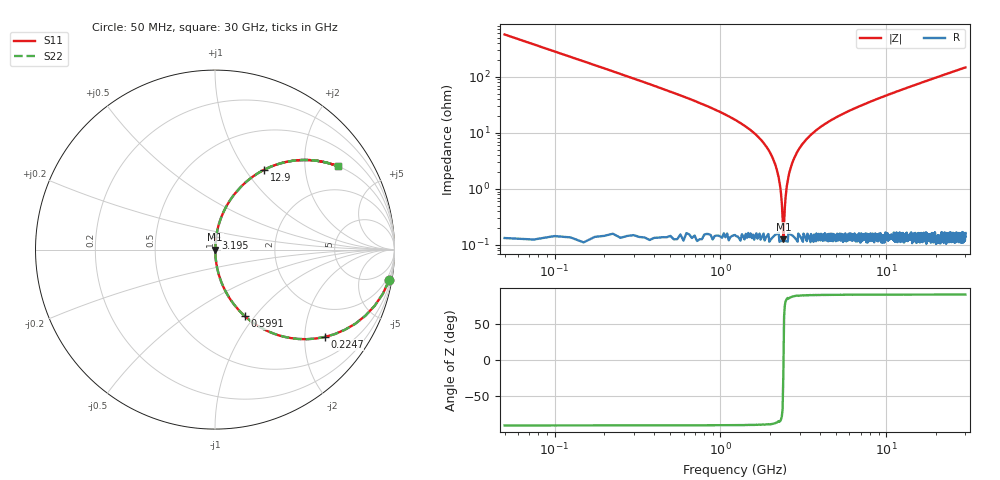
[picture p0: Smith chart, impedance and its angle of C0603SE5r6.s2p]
!	AVX Thin Film Operation 	Date: April 2014
!	Description: Accu-P® Series, Thin Film  SMD RF Capacitor
!	Part Number: 06035J5R6ABSTR
# MHZ S MA R 50
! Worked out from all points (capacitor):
!   1201 points, 50 MHz to 30 GHz, reference 50 ohm
!   read as one part in series: C = 5.6 pF near 199.8 MHz
!   lowest |Z| = 127 mohm at 2.396 GHz (marker M1)
!   series resonance near 2.4 GHz, so ESL is about 780 pH
!   S11 on the Smith chart (normalised r, x): 50 MHz: 1, -11; 224.7 MHz: 1.00, -2.51; 599.1 MHz: 1.00, -0.89; 3.195 GHz: 1.00, +0.14; 12.9 GHz: 1.00, +1.23; 30 GHz: 1.01, +2.94
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50  0.985 -10.0  0.173 80.0  0.173 80.0  0.985 -10.0
224.708  0.781 -38.6  0.623 51.4  0.623 51.4  0.781 -38.6
399.417  0.568 -55.2  0.822 34.6  0.822 34.6  0.568 -55.2
599.083  0.406 -65.9  0.913 24.0  0.913 24.0  0.406 -65.9
1023.375  0.221 -76.9  0.974 12.8  0.974 12.8  0.221 -76.9
1871.958  0.059 -85.3  0.997 3.4  0.997 3.4  0.059 -85.3
2096.583  0.032 -85.7  0.998 1.8  0.998 1.8  0.032 -85.7
2196.417  0.021 -85.0  0.998 1.2  0.998 1.2  0.021 -85.0
2296.25  0.011 -81.9  0.999 0.6  0.999 0.6  0.011 -81.9
2396.083  0.001444 -17.3  0.999 0.0  0.999 0.0  0.001444 -17.3
2495.917  0.009327 81.0  0.999 -0.5  0.999 -0.5  0.009327 81.0
2620.708  0.021 85.0  0.998 -1.2  0.998 -1.2  0.021 85.0
2745.5  0.032 85.7  0.998 -1.8  0.998 -1.8  0.032 85.7
3194.75  0.068 84.9  0.996 -3.9  0.996 -3.9  0.068 84.9
3918.542  0.12 82.5  0.991 -6.9  0.991 -6.9  0.12 82.5
5041.667  0.189 78.7  0.981 -10.9  0.981 -10.9  0.189 78.7
10058.29  0.423 64.8  0.905 -25.0  0.905 -25.0  0.423 64.8
12903.54  0.523 58.3  0.851 -31.5  0.851 -31.5  0.523 58.3
15025  0.585 54.1  0.81 -35.8  0.81 -35.8  0.585 54.1
20016.67  0.697 45.7  0.716 -44.2  0.716 -44.2  0.697 45.7
25033.29  0.774 39.2  0.633 -50.7  0.633 -50.7  0.774 39.2
30000  0.826 34.2  0.562 -55.7  0.562 -55.7  0.826 34.2
